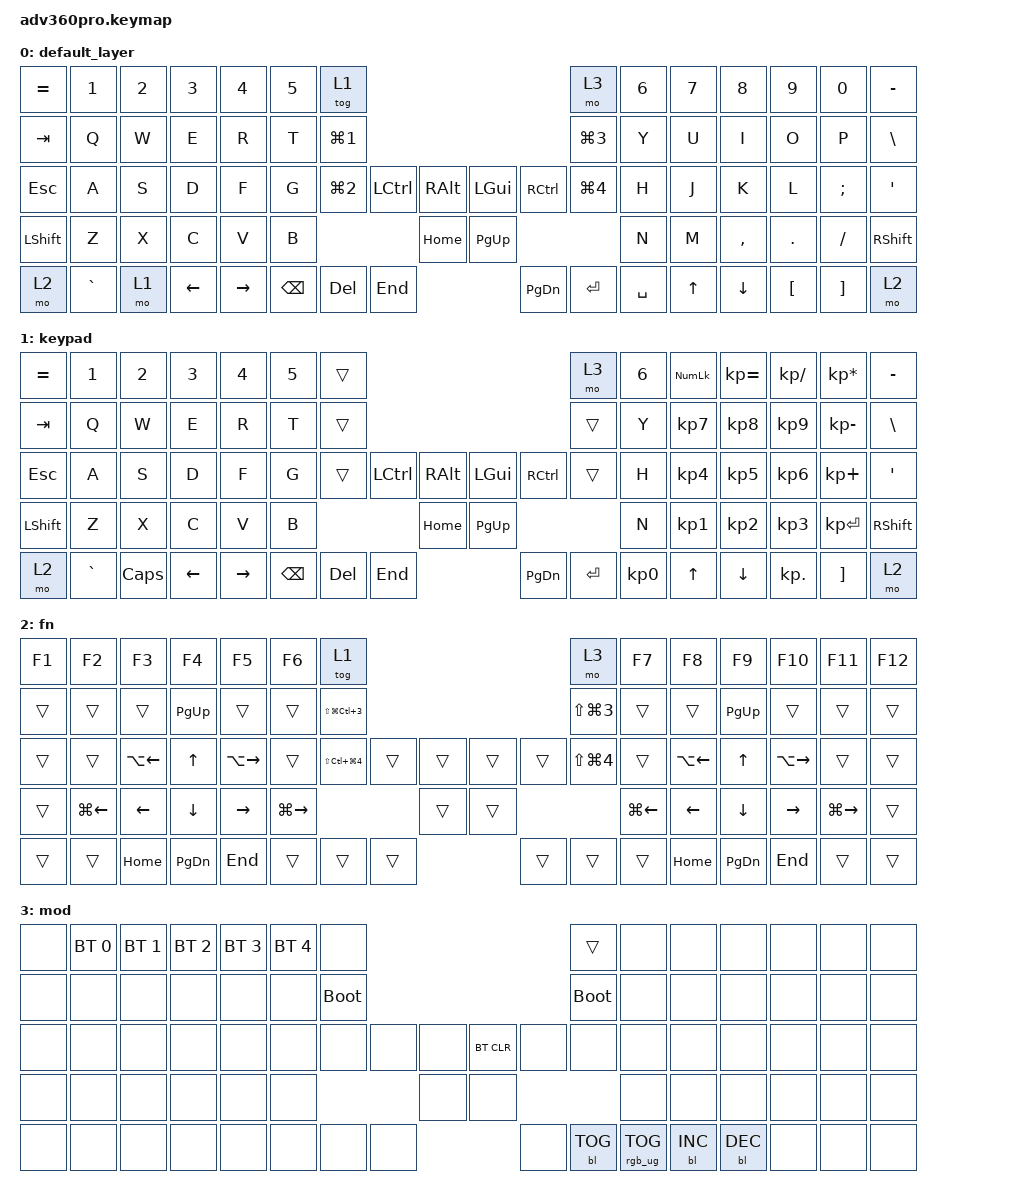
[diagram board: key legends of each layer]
#include <behaviors.dtsi>
#include <dt-bindings/zmk/backlight.h>
#include <dt-bindings/zmk/bt.h>
#include <dt-bindings/zmk/keys.h>
#include <dt-bindings/zmk/rgb.h>

/ {
    keymap {
        compatible = "zmk,keymap";

        default_layer {
            bindings = <
&kp EQUAL  &kp N1     &kp N2  &kp N3    &kp N4     &kp N5  &tog 1                                                                              &mo 3             &kp N6  &kp N7  &kp N8     &kp N9    &kp N0    &kp MINUS
&kp TAB    &kp Q      &kp W   &kp E     &kp R      &kp T   &kp LG(NUMBER_1)                                                                    &kp LG(NUMBER_3)  &kp Y   &kp U   &kp I      &kp O     &kp P     &kp BSLH
&kp ESC    &kp A      &kp S   &kp D     &kp F      &kp G   &kp LG(NUMBER_2)            &kp LCTRL  &kp RALT    &kp LGUI   &kp RCTRL             &kp LG(NUMBER_4)  &kp H   &kp J   &kp K      &kp L     &kp SEMI  &kp SQT
&kp LSHFT  &kp Z      &kp X   &kp C     &kp V      &kp B                                          &kp HOME    &kp PG_UP                                          &kp N   &kp M   &kp COMMA  &kp DOT   &kp FSLH  &kp RSHFT
&mo 2      &kp GRAVE  &mo 1   &kp LEFT  &kp RIGHT                            &kp BSPC  &kp DEL    &kp END     &kp PG_DN  &kp ENTER  &kp SPACE                            &kp UP  &kp DOWN   &kp LBKT  &kp RBKT  &mo 2
            >;
        };

        keypad {
            bindings = <
&kp EQUAL  &kp N1     &kp N2    &kp N3    &kp N4     &kp N5  &trans                                                                    &mo 3   &kp N6  &kp KP_NUM  &kp KP_EQUAL  &kp KP_DIVIDE  &kp KP_MULTIPLY  &kp MINUS
&kp TAB    &kp Q      &kp W     &kp E     &kp R      &kp T   &trans                                                                    &trans  &kp Y   &kp KP_N7   &kp KP_N8     &kp KP_N9      &kp KP_MINUS     &kp BSLH
&kp ESC    &kp A      &kp S     &kp D     &kp F      &kp G   &trans            &kp LCTRL  &kp RALT    &kp LGUI   &kp RCTRL             &trans  &kp H   &kp KP_N4   &kp KP_N5     &kp KP_N6      &kp KP_PLUS      &kp SQT
&kp LSHFT  &kp Z      &kp X     &kp C     &kp V      &kp B                                &kp HOME    &kp PG_UP                                &kp N   &kp KP_N1   &kp KP_N2     &kp KP_N3      &kp KP_ENTER     &kp RSHFT
&mo 2      &kp GRAVE  &kp CAPS  &kp LEFT  &kp RIGHT                  &kp BSPC  &kp DEL    &kp END     &kp PG_DN  &kp ENTER  &kp KP_N0                  &kp UP      &kp DOWN      &kp KP_DOT     &kp RBKT         &mo 2
            >;
        };

        fn {
            bindings = <
&kp F1  &kp F2        &kp F3        &kp F4         &kp F5         &kp F6         &tog 1                                                                      &mo 3                 &kp F7        &kp F8        &kp F9         &kp F10        &kp F11        &kp F12
&trans  &trans        &trans        &kp PAGE_UP    &trans         &trans         &kp LS(LG(LC(NUMBER_3)))                                                    &kp LS(LG(NUMBER_3))  &trans        &trans        &kp PAGE_UP    &trans         &trans         &trans
&trans  &trans        &kp LA(LEFT)  &kp UP_ARROW   &kp LA(RIGHT)  &trans         &kp LS(LC(LG(NUMBER_4)))          &trans  &trans    &trans  &trans          &kp LS(LG(NUMBER_4))  &trans        &kp LA(LEFT)  &kp UP         &kp LA(RIGHT)  &trans         &trans
&trans  &kp LG(LEFT)  &kp LEFT      &kp DOWN       &kp RIGHT      &kp LG(RIGHT)                                            &trans    &trans                                        &kp LG(LEFT)  &kp LEFT      &kp DOWN       &kp RIGHT      &kp LG(RIGHT)  &trans
&trans  &trans        &kp HOME      &kp PAGE_DOWN  &kp END                                                 &trans  &trans  &trans    &trans  &trans  &trans                                      &kp HOME      &kp PAGE_DOWN  &kp END        &trans         &trans
            >;
        };

        mod {
            bindings = <
&none  &bt BT_SEL 0  &bt BT_SEL 1  &bt BT_SEL 2  &bt BT_SEL 3  &bt BT_SEL 4  &none                                                                        &trans       &none  &none       &none       &none  &none  &none
&none  &none         &none         &none         &none         &none         &bootloader                                                                  &bootloader  &none  &none       &none       &none  &none  &none
&none  &none         &none         &none         &none         &none         &none               &none  &none    &bt BT_CLR  &none                        &none        &none  &none       &none       &none  &none  &none
&none  &none         &none         &none         &none         &none                                    &none    &none                                                 &none  &none       &none       &none  &none  &none
&none  &none         &none         &none         &none                                    &none  &none  &none    &none       &bl BL_TOG  &rgb_ug RGB_TOG                      &bl BL_INC  &bl BL_DEC  &none  &none  &none
            >;
        };
    };
};
